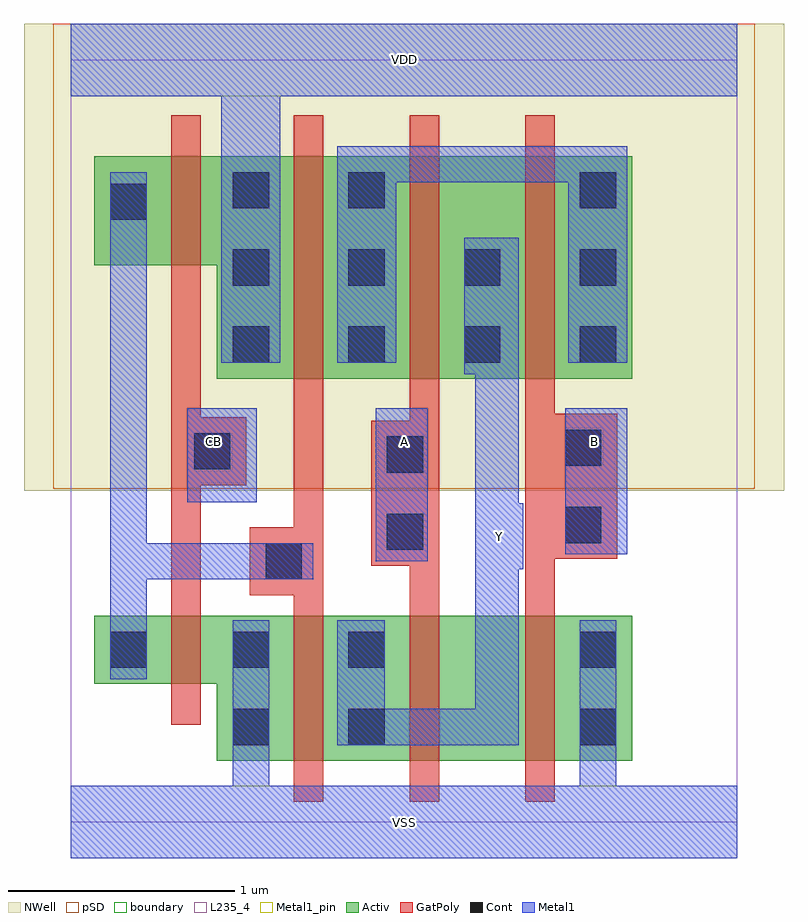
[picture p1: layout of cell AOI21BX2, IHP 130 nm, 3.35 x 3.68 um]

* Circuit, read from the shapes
.subckt AOI21BX2 A B CB VDD VSS Y
XM1 VSS CB n1 VSUBS sg13_lv_nmos w=0.3u l=0.13u
XM2 Y n1 VSS VSUBS sg13_lv_nmos w=0.64u l=0.13u
XM3 n2 A Y VSUBS sg13_lv_nmos w=0.64u l=0.13u
XM4 VSS B n2 VSUBS sg13_lv_nmos w=0.64u l=0.13u
XM5 VDD CB n1 n3 sg13_lv_pmos w=0.48u l=0.13u
XM6 n4 n1 VDD n3 sg13_lv_pmos w=0.98u l=0.13u
XM7 Y A n4 n3 sg13_lv_pmos w=0.98u l=0.13u
XM8 n4 B Y n3 sg13_lv_pmos w=0.98u l=0.13u
.ends

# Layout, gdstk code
import gdstk
lib = gdstk.Library(unit=1e-6, precision=1e-09)
def R(c, l, rs):  # rectangles x0, y0, x1, y1
    for r in rs: c.add(gdstk.rectangle(r[:2], r[2:], *l))
def A(c, l, x, y, w, h, nx, ny, dx, dy):  # array of equal rectangles
    R(c, l, [(x+i*dx, y+j*dy, x+i*dx+w, y+j*dy+h) for i in range(nx) for j in range(ny)])
def P(c, l, *ps):  # polygons
    for p in ps: c.add(gdstk.Polygon(p, *l))
Activ = (1, 0)
GatPoly = (5, 0)
Cont = (6, 0)
Metal1 = (8, 0)
Metal1_pin = (8, 2)
pSD = (14, 0)
NWell = (31, 0)
boundary = (189, 4)
L235_4 = (235, 4)

aoi21bx2 = lib.new_cell('AOI21BX2')
P(aoi21bx2, Activ, [(0.645,0.27),(0.645,0.61),(0.105,0.61),(0.105,0.91),(2.475,0.91),(2.475,0.27)],
  [(0.645,1.955),(0.645,2.455),(0.105,2.455),(0.105,2.935),(2.475,2.935),(2.475,1.955)])
P(aoi21bx2, GatPoly, [(1.495,0.09),(1.495,1.13),(1.325,1.13),(1.325,1.77),(1.495,1.77),(1.495,3.115),(1.625,3.115),(1.625,0.09)],
  [(2.005,0.09),(2.005,3.115),(2.135,3.115),(2.135,1.8),(2.41,1.8),(2.41,1.16),(2.135,1.16),(2.135,0.09)],
  [(0.445,0.43),(0.445,3.115),(0.575,3.115),(0.575,1.785),(0.775,1.785),(0.775,1.485),(0.575,1.485),(0.575,0.43)],
  [(0.985,0.09),(0.985,1),(0.79,1),(0.79,1.3),(0.985,1.3),(0.985,3.115),(1.115,3.115),(1.115,0.09)])
A(aoi21bx2, Cont, 0.715, 2.025, 0.16, 0.16, 4, 2, 0.51, 0.34)
R(aoi21bx2, Cont, [(0.715,0.34,0.875,0.5), (1.225,0.34,1.385,0.5), (2.245,0.34,2.405,0.5), (0.175,0.68,0.335,0.84), (0.715,0.68,0.875,0.84), (1.225,0.68,1.385,0.84), (2.245,0.68,2.405,0.84), (0.86,1.07,1.02,1.23), (1.395,1.2,1.555,1.36), (2.18,1.23,2.34,1.39), (1.395,1.54,1.555,1.7), (0.545,1.555,0.705,1.715), (2.18,1.57,2.34,1.73), (0.175,2.655,0.335,2.815), (0.715,2.705,0.875,2.865), (1.225,2.705,1.385,2.865), (2.245,2.705,2.405,2.865)])
R(aoi21bx2, Metal1, [(1.345,1.15,1.575,1.825), (2.18,1.18,2.455,1.825), (0.515,1.41,0.82,1.825)])
P(aoi21bx2, Metal1, [(1.175,0.34),(1.175,0.89),(1.385,0.89),(1.385,0.5),(1.785,0.5),(1.785,1.975),(1.735,1.975),(1.735,2.575),(1.975,2.575),(1.975,1.405),(1.995,1.405),(1.995,1.115),(1.975,1.115),(1.975,0.34)],
  [(0,-0.16),(0,0.16),(0.715,0.16),(0.715,0.89),(0.875,0.89),(0.875,0.16),(2.245,0.16),(2.245,0.89),(2.405,0.89),(2.405,0.16),(2.94,0.16),(2.94,-0.16)],
  [(0.665,2.025),(0.665,3.2),(0,3.2),(0,3.52),(2.94,3.52),(2.94,3.2),(0.925,3.2),(0.925,2.025)],
  [(1.175,2.025),(1.175,2.98),(2.455,2.98),(2.455,2.025),(2.195,2.025),(2.195,2.82),(1.435,2.82),(1.435,2.025)],
  [(0.175,0.63),(0.175,2.865),(0.335,2.865),(0.335,1.23),(1.07,1.23),(1.07,1.07),(0.335,1.07),(0.335,0.63)])
R(aoi21bx2, Metal1_pin, [(0,-0.16,2.94,0.16), (1.345,1.15,1.575,1.825), (2.18,1.18,2.455,1.825), (0.515,1.41,0.82,1.825), (0,3.2,2.94,3.52)])
P(aoi21bx2, Metal1_pin, [(1.175,0.34),(1.175,0.89),(1.385,0.89),(1.385,0.5),(1.785,0.5),(1.785,1.975),(1.735,1.975),(1.735,2.575),(1.975,2.575),(1.975,1.405),(1.995,1.405),(1.995,1.115),(1.975,1.115),(1.975,0.34)])
R(aoi21bx2, pSD, [(-0.075,1.47,3.015,3.52)])
R(aoi21bx2, NWell, [(-0.205,1.46,3.145,3.52)])
R(aoi21bx2, boundary, [(0,0,2.94,3.36)])
R(aoi21bx2, L235_4, [(0,0,2.94,3.36)])
aoi21bx2.add(gdstk.Label('VDD', (1.47,3.36), layer=8, texttype=25))
aoi21bx2.add(gdstk.Label('VSS', (1.47,0), layer=8, texttype=25))
aoi21bx2.add(gdstk.Label('Y', (1.89,1.26), layer=8, texttype=25))
aoi21bx2.add(gdstk.Label('B', (2.31,1.68), layer=8, texttype=25))
aoi21bx2.add(gdstk.Label('A', (1.47,1.68), layer=8, texttype=25))
aoi21bx2.add(gdstk.Label('CB', (0.63,1.68), layer=8, texttype=25))

lib.write_gds('AOI21BX2.gds')
